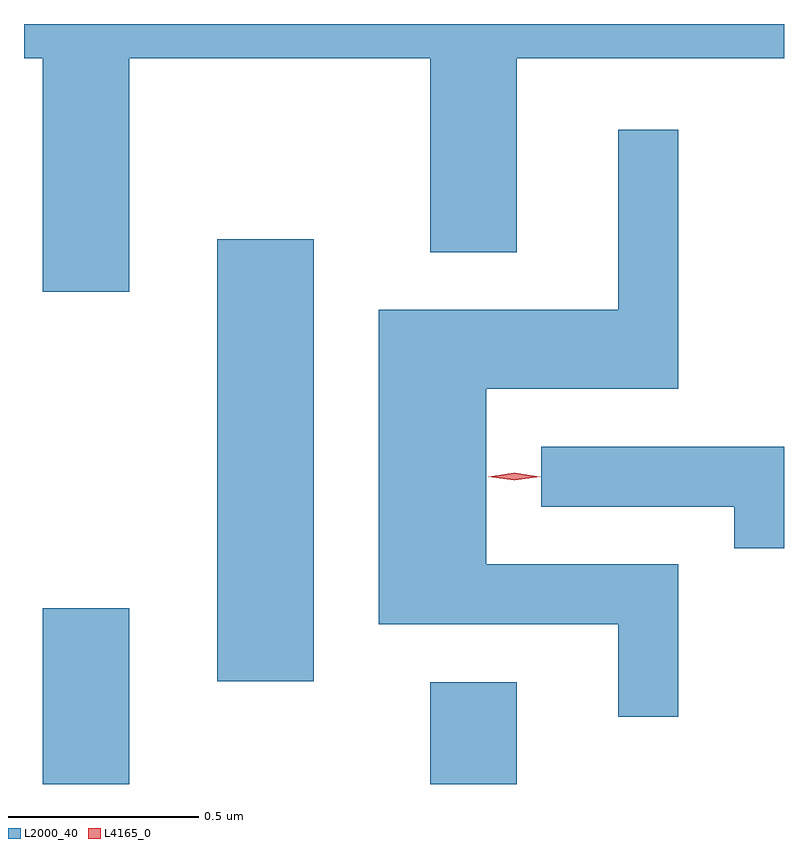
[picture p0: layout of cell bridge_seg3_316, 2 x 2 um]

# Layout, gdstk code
import gdstk
lib = gdstk.Library(unit=1e-6, precision=1e-09)
def R(c, l, rs):  # rectangles x0, y0, x1, y1
    for r in rs: c.add(gdstk.rectangle(r[:2], r[2:], *l))
def P(c, l, *ps):  # polygons
    for p in ps: c.add(gdstk.Polygon(p, *l))
L2000_40 = (2000, 40)
L4165_0 = (4165, 0)

bridge_seg3_316 = lib.new_cell('bridge_seg3_316')
R(bridge_seg3_316, L2000_40, [(526.321,1210.686,526.549,1211.149), (527.341,1210.686,527.569,1210.954), (526.781,1210.956,527.034,1212.119)])
P(bridge_seg3_316, L2000_40, [(526.549,1212.596),(527.341,1212.596),(527.341,1212.086),(527.569,1212.086),(527.569,1212.596),(528.272,1212.596),(528.272,1212.686),(526.272,1212.686),(526.272,1212.596),(526.321,1212.596),(526.321,1211.981),(526.549,1211.981)],
  [(527.994,1211.264),(527.489,1211.264),(527.489,1211.726),(527.994,1211.726),(527.994,1212.408),(527.836,1212.408),(527.836,1211.934),(527.206,1211.934),(527.206,1211.106),(527.836,1211.106),(527.836,1210.863),(527.994,1210.863)],
  [(528.272,1211.574),(527.633,1211.574),(527.633,1211.416),(528.141,1211.416),(528.141,1211.306),(528.272,1211.306)])
P(bridge_seg3_316, L4165_0, [(527.562,1211.485),(527.494,1211.494),(527.493,1211.495),(527.494,1211.495),(527.562,1211.505),(527.631,1211.495),(527.631,1211.495),(527.631,1211.494)],
  [(527.563,1211.485),(527.498,1211.494),(527.498,1211.495),(527.498,1211.495),(527.563,1211.505),(527.627,1211.495),(527.628,1211.495),(527.627,1211.494)])

lib.write_gds('bridge_seg3_316.gds')
